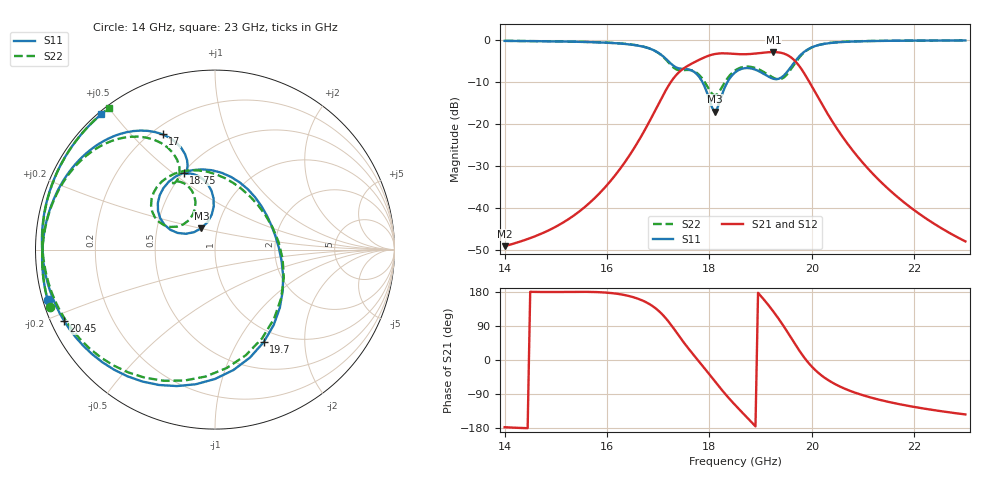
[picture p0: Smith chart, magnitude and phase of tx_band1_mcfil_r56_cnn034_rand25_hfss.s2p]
! Touchstone file exported from HFSS 3D Layout Design 2026.1.0
!  File:  D:/Work/SIM/ADS_AUTO_SIM/projects/RFSOC_RF/TX_Fillter.aedt
!  Generated:  05:51:51 AM Aug 31, 2026
!  Design:  TX_BAND1_MCFIL_R56_CNN034
!  Project:  TX_Fillter
# GHz S MA R 50.000000
! Terminal data exported
! Port[1] = Port1
! Port[2] = Port2
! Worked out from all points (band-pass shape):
!   181 points, 14 GHz to 23 GHz, reference 50 ohm
!   highest |S21| = -2.88 dB at 19.25 GHz (marker M1); lowest = -49.0 dB at 14 GHz (marker M2)
!   |S21| within 3 dB of the highest: 17.62 GHz to 19.73 GHz (2.118 GHz wide, 11.3 % of centre)
!   lowest |S11| = -17.0 dB at 18.1 GHz (marker M3), VSWR 1.33, Z = 41.9 + j10.2 ohm
!   |S11| at or under -10 dB: 17.86 GHz to 18.35 GHz (490.1 MHz wide, 2.71 % of centre)
!   |S22| runs from -13.2 to -0.1 dB; largest |S21 - S12| = 1.3e-14
!   S11 on the Smith chart (normalised r, x): 14 GHz: 0.01, -0.15; 17 GHz: 0.24, +0.62; 18.75 GHz: 0.50, +0.55; 19.7 GHz: 0.83, -1.29; 20.45 GHz: 0.04, -0.22; 23 GHz: 0.01, +0.46
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14  0.9737 -163.1  0.003557 -177.3  0.003557 -177.3  0.9749 -160.9
15.5  0.9479 167.2  0.009614 179.9  0.009614 179.9  0.9505 170.2
16.35  0.8958 143.3  0.0354 171.2  0.0354 171.2  0.8996 147.2
17  0.7052 114.4  0.1707 130.7  0.1707 130.7  0.7017 119.1
17.25  0.5219 107.3  0.3181 92.9  0.3181 92.9  0.5022 113.3
17.5  0.4526 111.0  0.4597 46.3  0.4597 46.3  0.4369 122.3
17.85  0.3275 93.4  0.6002 -12.8  0.6002 -12.8  0.3551 111.5
18.1  0.1411 122.3  0.6785 -55.0  0.6785 -55.0  0.2192 131.9
18.3  0.2721 156.1  0.6929 -88.2  0.6929 -88.2  0.3131 154.4
18.5  0.4108 140.8  0.6812 -118.5  0.6812 -118.5  0.433 145.3
18.75  0.4634 112.2  0.6778 -153.7  0.6778 -153.7  0.4824 123.2
19  0.4147 77.6  0.6997 169.6  0.6997 169.6  0.4361 95.7
19.25  0.3455 33.2  0.7175 127.9  0.7175 127.9  0.3549 56.8
19.45  0.376 -9.5  0.6899 89.4  0.6899 89.4  0.3564 7.0
19.7  0.5831 -62.3  0.5394 36.4  0.5394 36.4  0.5598 -62.1
19.85  0.7208 -90.0  0.4029 6.9  0.4029 6.9  0.709 -94.2
20  0.8165 -112.5  0.2817 -17.4  0.2817 -17.4  0.8133 -118.6
20.2  0.8874 -135.0  0.1717 -41.8  0.1717 -41.8  0.8897 -141.8
20.45  0.9299 -154.7  0.09667 -63.3  0.09667 -63.3  0.9339 -161.4
20.85  0.9591 -175.9  0.04446 -86.4  0.04446 -86.4  0.9625 178.2
21.5  0.9761 161.9  0.01688 -110.6  0.01688 -110.6  0.9781 157.0
23  0.985 130.1  0.004052 -143.7  0.004052 -143.7  0.9854 126.7
